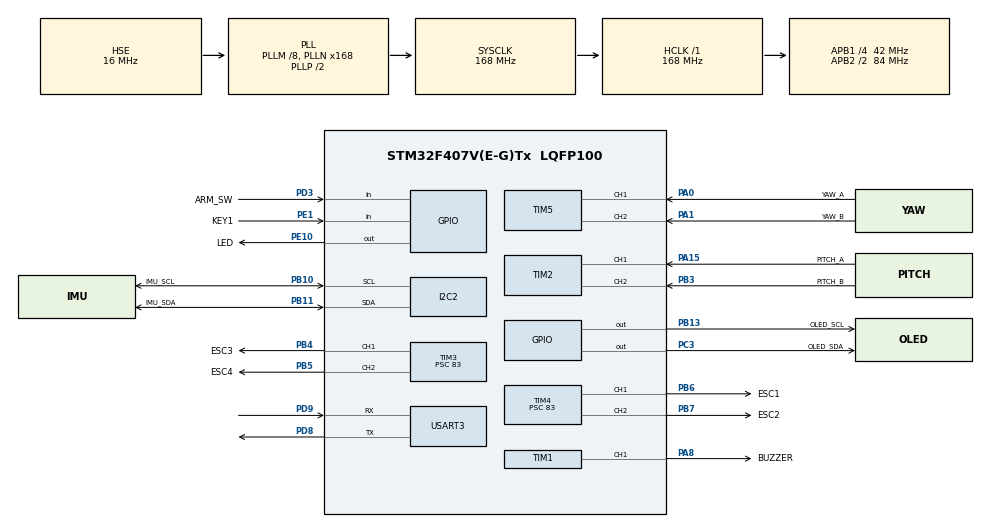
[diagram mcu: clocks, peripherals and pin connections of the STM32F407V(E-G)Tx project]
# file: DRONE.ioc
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I2C2.I2C_Mode=I2C_Fast
Mcu.Family=STM32F4
Mcu.Name=STM32F407V(E-G)Tx
Mcu.Package=LQFP100
NVIC.PriorityGroup=NVIC_PRIORITYGROUP_4
NVIC.TIM6_DAC_IRQn=true\:1\:0\:true\:false\:true\:true\:true\:true
PA0-WKUP.GPIO_Label=YAW_A
PA0-WKUP.Signal=S_TIM5_CH1
PA1.GPIO_Label=YAW_B
PA1.Signal=S_TIM5_CH2
PA13.Mode=Serial_Wire
PA13.Signal=SYS_JTMS-SWDIO
PA14.Mode=Serial_Wire
PA14.Signal=SYS_JTCK-SWCLK
PA15.GPIO_Label=PITCH_A
PA15.Signal=S_TIM2_CH1_ETR
PA8.GPIO_Label=BUZZER
PA8.Signal=S_TIM1_CH1
PB10.GPIO_Label=IMU_SCL
PB10.Mode=I2C
PB10.Signal=I2C2_SCL
PB11.GPIO_Label=IMU_SDA
PB11.Mode=I2C
PB11.Signal=I2C2_SDA
PB13.GPIO_Label=OLED_SCL
PB13.GPIO_ModeDefaultOutputPP=GPIO_MODE_OUTPUT_OD
PB13.GPIO_PuPd=GPIO_PULLUP
PB13.GPIO_Speed=GPIO_SPEED_FREQ_VERY_HIGH
PB13.PinState=GPIO_PIN_SET
PB13.Signal=GPIO_Output
PB3.GPIO_Label=PITCH_B
PB3.Signal=S_TIM2_CH2
PB4.GPIO_Label=ESC3
PB4.Signal=S_TIM3_CH1
PB5.GPIO_Label=ESC4
PB5.Signal=S_TIM3_CH2
PB6.GPIO_Label=ESC1
PB6.Signal=S_TIM4_CH1
PB7.GPIO_Label=ESC2
PB7.Signal=S_TIM4_CH2
PC3.GPIO_Label=OLED_SDA
PC3.GPIO_ModeDefaultOutputPP=GPIO_MODE_OUTPUT_OD
PC3.GPIO_PuPd=GPIO_PULLUP
PC3.GPIO_Speed=GPIO_SPEED_FREQ_VERY_HIGH
PC3.PinState=GPIO_PIN_SET
PC3.Signal=GPIO_Output
PD3.GPIO_Label=ARM_SW
PD3.Signal=GPIO_Input
PD8.Mode=Asynchronous
PD8.Signal=USART3_TX
PD9.Mode=Asynchronous
PD9.Signal=USART3_RX
PE1.GPIO_Label=KEY1
PE1.Signal=GPIO_Input
PE10.GPIO_Label=LED
PE10.PinState=GPIO_PIN_SET
PE10.Signal=GPIO_Output
PH0-OSC_IN.Mode=HSE-External-Oscillator
PH0-OSC_IN.Signal=RCC_OSC_IN
PH1-OSC_OUT.Mode=HSE-External-Oscillator
PH1-OSC_OUT.Signal=RCC_OSC_OUT
ProjectManager.HeapSize=0x200
ProjectManager.StackSize=0x400
ProjectManager.TargetToolchain=STM32CubeIDE
RCC.48MHZClocksFreq_Value=84000000
RCC.AHBFreq_Value=168000000
RCC.APB1CLKDivider=RCC_HCLK_DIV4
RCC.APB1Freq_Value=42000000
RCC.APB1TimFreq_Value=84000000
RCC.APB2CLKDivider=RCC_HCLK_DIV2
RCC.APB2Freq_Value=84000000
RCC.APB2TimFreq_Value=168000000
RCC.CortexFreq_Value=168000000
RCC.HCLKFreq_Value=168000000
RCC.HSE_VALUE=16000000
RCC.HSI_VALUE=16000000
RCC.LSE_VALUE=32768
RCC.PLLM=8
RCC.PLLN=168
RCC.PLLSourceVirtual=RCC_PLLSOURCE_HSE
RCC.SYSCLKFreq_VALUE=168000000
RCC.SYSCLKSource=RCC_SYSCLKSOURCE_PLLCLK
RCC.VCOOutputFreq_Value=336000000
SH.S_TIM1_CH1.0=TIM1_CH1,PWM Generation1 CH1
SH.S_TIM2_CH1_ETR.0=TIM2_CH1,Encoder_Interface
SH.S_TIM2_CH2.0=TIM2_CH2,Encoder_Interface
SH.S_TIM3_CH1.0=TIM3_CH1,PWM Generation1 CH1
SH.S_TIM3_CH2.0=TIM3_CH2,PWM Generation2 CH2
SH.S_TIM4_CH1.0=TIM4_CH1,PWM Generation1 CH1
SH.S_TIM4_CH2.0=TIM4_CH2,PWM Generation2 CH2
SH.S_TIM5_CH1.0=TIM5_CH1,Encoder_Interface
SH.S_TIM5_CH2.0=TIM5_CH2,Encoder_Interface
TIM1.Channel-PWM\ Generation1\ CH1=TIM_CHANNEL_1
TIM1.Period=499
TIM1.Prescaler=167
TIM2.EncoderMode=TIM_ENCODERMODE_TI12
TIM2.IC1Filter=5
TIM2.IC2Filter=5
TIM3.AutoReloadPreload=TIM_AUTORELOAD_PRELOAD_ENABLE
TIM3.Channel-PWM\ Generation1\ CH1=TIM_CHANNEL_1
TIM3.Channel-PWM\ Generation2\ CH2=TIM_CHANNEL_2
TIM3.Period=2499
TIM3.Prescaler=83
TIM3.Pulse-PWM\ Generation1\ CH1=1000
TIM3.Pulse-PWM\ Generation2\ CH2=1000
TIM4.AutoReloadPreload=TIM_AUTORELOAD_PRELOAD_ENABLE
TIM4.Channel-PWM\ Generation1\ CH1=TIM_CHANNEL_1
TIM4.Channel-PWM\ Generation2\ CH2=TIM_CHANNEL_2
TIM4.Period=2499
TIM4.Prescaler=83
TIM4.Pulse-PWM\ Generation1\ CH1=1000
TIM4.Pulse-PWM\ Generation2\ CH2=1000
TIM5.AutoReloadPreload=TIM_AUTORELOAD_PRELOAD_ENABLE
TIM5.EncoderMode=TIM_ENCODERMODE_TI12
TIM5.IC1Filter=5
TIM5.IC2Filter=5
TIM6.Period=1999
TIM6.Prescaler=83
USART3.VirtualMode=VM_ASYNC
VP_TIM1_VS_ClockSourceINT.Mode=Internal
VP_TIM3_VS_ClockSourceINT.Mode=Internal
VP_TIM4_VS_ClockSourceINT.Mode=Internal
VP_TIM6_VS_ClockSourceINT.Mode=Enable_Timer
board=custom

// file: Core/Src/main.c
/* USER CODE BEGIN Header */
/**
  ******************************************************************************
  * @file           : main.c
  * @brief          : Main program body
  ******************************************************************************
  * @attention
  *
  * Copyright (c) 2026 STMicroelectronics.
  * All rights reserved.
  *
  * This software is licensed under terms that can be found in the LICENSE file
  * in the root directory of this software component.
  * If no LICENSE file comes with this software, it is provided AS-IS.
  *
  ******************************************************************************
  */
/* USER CODE END Header */
#include "main.h"

/* USER CODE BEGIN Includes */
#include "bsp_led.h"
#include "bsp_esc.h"
#include "bsp_enc.h"
#include "bsp_imu.h"      // IMU
#include "bsp_pid.h"      // PID
#include "bsp_oled.h"
#include "bsp_key.h"
#include "bsp_buzzer.h"
#include "bsp_comm.h"     // Raspberry Pi link
/* USER CODE END Includes */

I2C_HandleTypeDef hi2c2;

TIM_HandleTypeDef htim1;
TIM_HandleTypeDef htim2;
TIM_HandleTypeDef htim3;
TIM_HandleTypeDef htim4;
TIM_HandleTypeDef htim5;
TIM_HandleTypeDef htim6;

UART_HandleTypeDef huart3;

/* USER CODE BEGIN PV */
volatile float yaw_ang =0;
volatile float pitch_ang =0;
volatile uint8_t oled_found = 0;
uint32_t oled_last_ms = 0;
uint32_t arm_beep_ms = 0;     /* when the last countdown beep started */
uint8_t armed_beeped = 0;     /* 1 = the long "armed" beep was already played */
/* USER CODE END PV */

void SystemClock_Config(void);
static void MX_GPIO_Init(void);
static void MX_I2C2_Init(void);
static void MX_USART3_UART_Init(void);
static void MX_TIM3_Init(void);
static void MX_TIM4_Init(void);
static void MX_TIM2_Init(void);
static void MX_TIM5_Init(void);
static void MX_TIM6_Init(void);
static void MX_TIM1_Init(void);

int main(void)
{

  /* MCU Configuration--------------------------------------------------------*/

  /* Reset of all peripherals, Initializes the Flash interface and the Systick. */
  HAL_Init();

  /* Configure the system clock */
  SystemClock_Config();

  /* Initialize all configured peripherals */
  MX_GPIO_Init();
  MX_I2C2_Init();
  MX_USART3_UART_Init();
  MX_TIM3_Init();
  MX_TIM4_Init();
  MX_TIM2_Init();
  MX_TIM5_Init();
  MX_TIM6_Init();
  MX_TIM1_Init();
  /* USER CODE BEGIN 2 */
  LED_Init();
  ESC_Init();
  BUZZER_Init();
  ENC_Init();
  IMU_Init();             // IMU
  PID_Init();             // PID
  COMM_Init();            // Raspberry Pi link on USART3
  HAL_TIM_Base_Start_IT(&htim6);   // PID: start the 500 Hz control loop
  /*0.5s on and 0.5s off*/
  LED_Blink(1000);
  oled_found = OLED_Init();
  /* OLED test: one line across the middle */
  for(uint8_t x = 0; x < 128; x++){
	  OLED_SetPixel(x, 16, 1);
  }
  OLED_Update();
  BUZZER_Beep(200);
  /* USER CODE END 2 */

  /* Infinite loop */
  while (1)
  {

    /* USER CODE BEGIN 3 */

	  yaw_ang = ENC_GetDeg(ENC_YAW);
	  pitch_ang = ENC_GetDeg(ENC_PITCH);

	  PID_Print();        // PID: angle, output, left/right motor speeds to Tera Term
	  COMM_Update();      // Pi link: read $SET commands, send $TEL telemetry
	  //LED_Update();
	  BUZZER_Update();
	  if(KEY1_IsPressed()){
		  ESC_Arm();
	  }
	  ESC_Update();  // PID: finishes the ESC arming sequence

	  /* warning: short beep every second while counting down */
	  if(ESC_IsCountingDown() && HAL_GetTick() - arm_beep_ms >= 1000){
		  arm_beep_ms = HAL_GetTick();
		  BUZZER_Beep(100);
	  }
	  /* long beep once, the moment the motors are allowed to spin */
	  if(ESC_IsArmed() && armed_beeped == 0){
		  armed_beeped = 1;
		  BUZZER_Beep(1000);
	  }

	  /* OLED: redraw angle, target and error 5 times a second */
	  if(HAL_GetTick() - oled_last_ms >= 200){
		  oled_last_ms = HAL_GetTick();
		  float angle  = IMU_GetData()->pitch;   /* same angle the PID uses */
		  float target = PID_GetTarget();
		  OLED_Clear();
		  OLED_Print(0, 0,  "Angle:");   OLED_PrintFloat(54, 0,  angle);
		  OLED_Print(0, 11, "Target:");  OLED_PrintFloat(54, 11, target);
		  OLED_Print(0, 22, "Error:");   OLED_PrintFloat(54, 22, target - angle);
		  OLED_Update();
	  }
/*
	  if(ESC_IsArmed()){
		  ESC_Set(1, 1200);
		  ESC_Set(3, 1200);
		  ESC_Set(4, 1200);
		  ESC_Set(2, 1200);
	  }
*/

  }
  /* USER CODE END 3 */
}

void SystemClock_Config(void)
{
  RCC_OscInitTypeDef RCC_OscInitStruct = {0};
  RCC_ClkInitTypeDef RCC_ClkInitStruct = {0};

  /** Configure the main internal regulator output voltage
  */
  __HAL_RCC_PWR_CLK_ENABLE();
  __HAL_PWR_VOLTAGESCALING_CONFIG(PWR_REGULATOR_VOLTAGE_SCALE1);

  /** Initializes the RCC Oscillators according to the specified parameters
  * in the RCC_OscInitTypeDef structure.
  */
  RCC_OscInitStruct.OscillatorType = RCC_OSCILLATORTYPE_HSE;
  RCC_OscInitStruct.HSEState = RCC_HSE_ON;
  RCC_OscInitStruct.PLL.PLLState = RCC_PLL_ON;
  RCC_OscInitStruct.PLL.PLLSource = RCC_PLLSOURCE_HSE;
  RCC_OscInitStruct.PLL.PLLM = 8;
  RCC_OscInitStruct.PLL.PLLN = 168;
  RCC_OscInitStruct.PLL.PLLP = RCC_PLLP_DIV2;
  RCC_OscInitStruct.PLL.PLLQ = 4;
  if (HAL_RCC_OscConfig(&RCC_OscInitStruct) != HAL_OK)
  {
    Error_Handler();
  }

  /** Initializes the CPU, AHB and APB buses clocks
  */
  RCC_ClkInitStruct.ClockType = RCC_CLOCKTYPE_HCLK|RCC_CLOCKTYPE_SYSCLK
                              |RCC_CLOCKTYPE_PCLK1|RCC_CLOCKTYPE_PCLK2;
  RCC_ClkInitStruct.SYSCLKSource = RCC_SYSCLKSOURCE_PLLCLK;
  RCC_ClkInitStruct.AHBCLKDivider = RCC_SYSCLK_DIV1;
  RCC_ClkInitStruct.APB1CLKDivider = RCC_HCLK_DIV4;
  RCC_ClkInitStruct.APB2CLKDivider = RCC_HCLK_DIV2;

  if (HAL_RCC_ClockConfig(&RCC_ClkInitStruct, FLASH_LATENCY_5) != HAL_OK)
  {
    Error_Handler();
  }
}

static void MX_I2C2_Init(void)
{

  hi2c2.Instance = I2C2;
  hi2c2.Init.ClockSpeed = 400000;
  hi2c2.Init.DutyCycle = I2C_DUTYCYCLE_2;
  hi2c2.Init.OwnAddress1 = 0;
  hi2c2.Init.AddressingMode = I2C_ADDRESSINGMODE_7BIT;
  hi2c2.Init.DualAddressMode = I2C_DUALADDRESS_DISABLE;
  hi2c2.Init.OwnAddress2 = 0;
  hi2c2.Init.GeneralCallMode = I2C_GENERALCALL_DISABLE;
  hi2c2.Init.NoStretchMode = I2C_NOSTRETCH_DISABLE;
  if (HAL_I2C_Init(&hi2c2) != HAL_OK)
  {
    Error_Handler();
  }

}

static void MX_TIM1_Init(void)
{

  TIM_ClockConfigTypeDef sClockSourceConfig = {0};
  TIM_MasterConfigTypeDef sMasterConfig = {0};
  TIM_OC_InitTypeDef sConfigOC = {0};
  TIM_BreakDeadTimeConfigTypeDef sBreakDeadTimeConfig = {0};

  htim1.Instance = TIM1;
  htim1.Init.Prescaler = 167;
  htim1.Init.CounterMode = TIM_COUNTERMODE_UP;
  htim1.Init.Period = 499;
  htim1.Init.ClockDivision = TIM_CLOCKDIVISION_DIV1;
  htim1.Init.RepetitionCounter = 0;
  htim1.Init.AutoReloadPreload = TIM_AUTORELOAD_PRELOAD_DISABLE;
  if (HAL_TIM_Base_Init(&htim1) != HAL_OK)
  {
    Error_Handler();
  }
  sClockSourceConfig.ClockSource = TIM_CLOCKSOURCE_INTERNAL;
  if (HAL_TIM_ConfigClockSource(&htim1, &sClockSourceConfig) != HAL_OK)
  {
    Error_Handler();
  }
  if (HAL_TIM_PWM_Init(&htim1) != HAL_OK)
  {
    Error_Handler();
  }
  sMasterConfig.MasterOutputTrigger = TIM_TRGO_RESET;
  sMasterConfig.MasterSlaveMode = TIM_MASTERSLAVEMODE_DISABLE;
  if (HAL_TIMEx_MasterConfigSynchronization(&htim1, &sMasterConfig) != HAL_OK)
  {
    Error_Handler();
  }
  sConfigOC.OCMode = TIM_OCMODE_PWM1;
  sConfigOC.Pulse = 0;
  sConfigOC.OCPolarity = TIM_OCPOLARITY_HIGH;
  sConfigOC.OCNPolarity = TIM_OCNPOLARITY_HIGH;
  sConfigOC.OCFastMode = TIM_OCFAST_DISABLE;
  sConfigOC.OCIdleState = TIM_OCIDLESTATE_RESET;
  sConfigOC.OCNIdleState = TIM_OCNIDLESTATE_RESET;
  if (HAL_TIM_PWM_ConfigChannel(&htim1, &sConfigOC, TIM_CHANNEL_1) != HAL_OK)
  {
    Error_Handler();
  }
  sBreakDeadTimeConfig.OffStateRunMode = TIM_OSSR_DISABLE;
  sBreakDeadTimeConfig.OffStateIDLEMode = TIM_OSSI_DISABLE;
  sBreakDeadTimeConfig.LockLevel = TIM_LOCKLEVEL_OFF;
  sBreakDeadTimeConfig.DeadTime = 0;
  sBreakDeadTimeConfig.BreakState = TIM_BREAK_DISABLE;
  sBreakDeadTimeConfig.BreakPolarity = TIM_BREAKPOLARITY_HIGH;
  sBreakDeadTimeConfig.AutomaticOutput = TIM_AUTOMATICOUTPUT_DISABLE;
  if (HAL_TIMEx_ConfigBreakDeadTime(&htim1, &sBreakDeadTimeConfig) != HAL_OK)
  {
    Error_Handler();
  }
  HAL_TIM_MspPostInit(&htim1);

}

static void MX_TIM2_Init(void)
{

  TIM_Encoder_InitTypeDef sConfig = {0};
  TIM_MasterConfigTypeDef sMasterConfig = {0};

  htim2.Instance = TIM2;
  htim2.Init.Prescaler = 0;
  htim2.Init.CounterMode = TIM_COUNTERMODE_UP;
  htim2.Init.Period = 4294967295;
  htim2.Init.ClockDivision = TIM_CLOCKDIVISION_DIV1;
  htim2.Init.AutoReloadPreload = TIM_AUTORELOAD_PRELOAD_DISABLE;
  sConfig.EncoderMode = TIM_ENCODERMODE_TI12;
  sConfig.IC1Polarity = TIM_ICPOLARITY_RISING;
  sConfig.IC1Selection = TIM_ICSELECTION_DIRECTTI;
  sConfig.IC1Prescaler = TIM_ICPSC_DIV1;
  sConfig.IC1Filter = 5;
  sConfig.IC2Polarity = TIM_ICPOLARITY_RISING;
  sConfig.IC2Selection = TIM_ICSELECTION_DIRECTTI;
  sConfig.IC2Prescaler = TIM_ICPSC_DIV1;
  sConfig.IC2Filter = 5;
  if (HAL_TIM_Encoder_Init(&htim2, &sConfig) != HAL_OK)
  {
    Error_Handler();
  }
  sMasterConfig.MasterOutputTrigger = TIM_TRGO_RESET;
  sMasterConfig.MasterSlaveMode = TIM_MASTERSLAVEMODE_DISABLE;
  if (HAL_TIMEx_MasterConfigSynchronization(&htim2, &sMasterConfig) != HAL_OK)
  {
    Error_Handler();
  }

}

static void MX_TIM3_Init(void)
{

  TIM_ClockConfigTypeDef sClockSourceConfig = {0};
  TIM_MasterConfigTypeDef sMasterConfig = {0};
  TIM_OC_InitTypeDef sConfigOC = {0};

  htim3.Instance = TIM3;
  htim3.Init.Prescaler = 83;
  htim3.Init.CounterMode = TIM_COUNTERMODE_UP;
  htim3.Init.Period = 2499;
  htim3.Init.ClockDivision = TIM_CLOCKDIVISION_DIV1;
  htim3.Init.AutoReloadPreload = TIM_AUTORELOAD_PRELOAD_ENABLE;
  if (HAL_TIM_Base_Init(&htim3) != HAL_OK)
  {
    Error_Handler();
  }
  sClockSourceConfig.ClockSource = TIM_CLOCKSOURCE_INTERNAL;
  if (HAL_TIM_ConfigClockSource(&htim3, &sClockSourceConfig) != HAL_OK)
  {
    Error_Handler();
  }
  if (HAL_TIM_PWM_Init(&htim3) != HAL_OK)
  {
    Error_Handler();
  }
  sMasterConfig.MasterOutputTrigger = TIM_TRGO_RESET;
  sMasterConfig.MasterSlaveMode = TIM_MASTERSLAVEMODE_DISABLE;
  if (HAL_TIMEx_MasterConfigSynchronization(&htim3, &sMasterConfig) != HAL_OK)
  {
    Error_Handler();
  }
  sConfigOC.OCMode = TIM_OCMODE_PWM1;
  sConfigOC.Pulse = 1000;
  sConfigOC.OCPolarity = TIM_OCPOLARITY_HIGH;
  sConfigOC.OCFastMode = TIM_OCFAST_DISABLE;
  if (HAL_TIM_PWM_ConfigChannel(&htim3, &sConfigOC, TIM_CHANNEL_1) != HAL_OK)
  {
    Error_Handler();
  }
  if (HAL_TIM_PWM_ConfigChannel(&htim3, &sConfigOC, TIM_CHANNEL_2) != HAL_OK)
  {
    Error_Handler();
  }
  HAL_TIM_MspPostInit(&htim3);

}

static void MX_TIM4_Init(void)
{

  TIM_ClockConfigTypeDef sClockSourceConfig = {0};
  TIM_MasterConfigTypeDef sMasterConfig = {0};
  TIM_OC_InitTypeDef sConfigOC = {0};

  htim4.Instance = TIM4;
  htim4.Init.Prescaler = 83;
  htim4.Init.CounterMode = TIM_COUNTERMODE_UP;
  htim4.Init.Period = 2499;
  htim4.Init.ClockDivision = TIM_CLOCKDIVISION_DIV1;
  htim4.Init.AutoReloadPreload = TIM_AUTORELOAD_PRELOAD_ENABLE;
  if (HAL_TIM_Base_Init(&htim4) != HAL_OK)
  {
    Error_Handler();
  }
  sClockSourceConfig.ClockSource = TIM_CLOCKSOURCE_INTERNAL;
  if (HAL_TIM_ConfigClockSource(&htim4, &sClockSourceConfig) != HAL_OK)
  {
    Error_Handler();
  }
  if (HAL_TIM_PWM_Init(&htim4) != HAL_OK)
  {
    Error_Handler();
  }
  sMasterConfig.MasterOutputTrigger = TIM_TRGO_RESET;
  sMasterConfig.MasterSlaveMode = TIM_MASTERSLAVEMODE_DISABLE;
  if (HAL_TIMEx_MasterConfigSynchronization(&htim4, &sMasterConfig) != HAL_OK)
  {
    Error_Handler();
  }
  sConfigOC.OCMode = TIM_OCMODE_PWM1;
  sConfigOC.Pulse = 1000;
  sConfigOC.OCPolarity = TIM_OCPOLARITY_HIGH;
  sConfigOC.OCFastMode = TIM_OCFAST_DISABLE;
  if (HAL_TIM_PWM_ConfigChannel(&htim4, &sConfigOC, TIM_CHANNEL_1) != HAL_OK)
  {
    Error_Handler();
  }
  if (HAL_TIM_PWM_ConfigChannel(&htim4, &sConfigOC, TIM_CHANNEL_2) != HAL_OK)
  {
    Error_Handler();
  }
  HAL_TIM_MspPostInit(&htim4);

}

static void MX_TIM5_Init(void)
{

  TIM_Encoder_InitTypeDef sConfig = {0};
  TIM_MasterConfigTypeDef sMasterConfig = {0};

  htim5.Instance = TIM5;
  htim5.Init.Prescaler = 0;
  htim5.Init.CounterMode = TIM_COUNTERMODE_UP;
  htim5.Init.Period = 4294967295;
  htim5.Init.ClockDivision = TIM_CLOCKDIVISION_DIV1;
  htim5.Init.AutoReloadPreload = TIM_AUTORELOAD_PRELOAD_ENABLE;
  sConfig.EncoderMode = TIM_ENCODERMODE_TI12;
  sConfig.IC1Polarity = TIM_ICPOLARITY_RISING;
  sConfig.IC1Selection = TIM_ICSELECTION_DIRECTTI;
  sConfig.IC1Prescaler = TIM_ICPSC_DIV1;
  sConfig.IC1Filter = 5;
  sConfig.IC2Polarity = TIM_ICPOLARITY_RISING;
  sConfig.IC2Selection = TIM_ICSELECTION_DIRECTTI;
  sConfig.IC2Prescaler = TIM_ICPSC_DIV1;
  sConfig.IC2Filter = 5;
  if (HAL_TIM_Encoder_Init(&htim5, &sConfig) != HAL_OK)
  {
    Error_Handler();
  }
  sMasterConfig.MasterOutputTrigger = TIM_TRGO_RESET;
  sMasterConfig.MasterSlaveMode = TIM_MASTERSLAVEMODE_DISABLE;
  if (HAL_TIMEx_MasterConfigSynchronization(&htim5, &sMasterConfig) != HAL_OK)
  {
    Error_Handler();
  }

}

static void MX_TIM6_Init(void)
{

  TIM_MasterConfigTypeDef sMasterConfig = {0};

  htim6.Instance = TIM6;
  htim6.Init.Prescaler = 83;
  htim6.Init.CounterMode = TIM_COUNTERMODE_UP;
  htim6.Init.Period = 1999;
  htim6.Init.AutoReloadPreload = TIM_AUTORELOAD_PRELOAD_DISABLE;
  if (HAL_TIM_Base_Init(&htim6) != HAL_OK)
  {
    Error_Handler();
  }
  sMasterConfig.MasterOutputTrigger = TIM_TRGO_RESET;
  sMasterConfig.MasterSlaveMode = TIM_MASTERSLAVEMODE_DISABLE;
  if (HAL_TIMEx_MasterConfigSynchronization(&htim6, &sMasterConfig) != HAL_OK)
  {
    Error_Handler();
  }

}

static void MX_USART3_UART_Init(void)
{

  huart3.Instance = USART3;
  huart3.Init.BaudRate = 115200;
  huart3.Init.WordLength = UART_WORDLENGTH_8B;
  huart3.Init.StopBits = UART_STOPBITS_1;
  huart3.Init.Parity = UART_PARITY_NONE;
  huart3.Init.Mode = UART_MODE_TX_RX;
  huart3.Init.HwFlowCtl = UART_HWCONTROL_NONE;
  huart3.Init.OverSampling = UART_OVERSAMPLING_16;
  if (HAL_UART_Init(&huart3) != HAL_OK)
  {
    Error_Handler();
  }

}

static void MX_GPIO_Init(void)
{
  GPIO_InitTypeDef GPIO_InitStruct = {0};

  /* GPIO Ports Clock Enable */
  __HAL_RCC_GPIOH_CLK_ENABLE();
  __HAL_RCC_GPIOC_CLK_ENABLE();
  __HAL_RCC_GPIOA_CLK_ENABLE();
  __HAL_RCC_GPIOE_CLK_ENABLE();
  __HAL_RCC_GPIOB_CLK_ENABLE();
  __HAL_RCC_GPIOD_CLK_ENABLE();

  /*Configure GPIO pin Output Level */
  HAL_GPIO_WritePin(OLED_SDA_GPIO_Port, OLED_SDA_Pin, GPIO_PIN_SET);

  /*Configure GPIO pin Output Level */
  HAL_GPIO_WritePin(LED_GPIO_Port, LED_Pin, GPIO_PIN_SET);

  /*Configure GPIO pin Output Level */
  HAL_GPIO_WritePin(OLED_SCL_GPIO_Port, OLED_SCL_Pin, GPIO_PIN_SET);

  /*Configure GPIO pin : OLED_SDA_Pin */
  GPIO_InitStruct.Pin = OLED_SDA_Pin;
  GPIO_InitStruct.Mode = GPIO_MODE_OUTPUT_OD;
  GPIO_InitStruct.Pull = GPIO_PULLUP;
  GPIO_InitStruct.Speed = GPIO_SPEED_FREQ_VERY_HIGH;
  HAL_GPIO_Init(OLED_SDA_GPIO_Port, &GPIO_InitStruct);

  /*Configure GPIO pin : LED_Pin */
  GPIO_InitStruct.Pin = LED_Pin;
  GPIO_InitStruct.Mode = GPIO_MODE_OUTPUT_PP;
  GPIO_InitStruct.Pull = GPIO_NOPULL;
  GPIO_InitStruct.Speed = GPIO_SPEED_FREQ_LOW;
  HAL_GPIO_Init(LED_GPIO_Port, &GPIO_InitStruct);

  /*Configure GPIO pin : OLED_SCL_Pin */
  GPIO_InitStruct.Pin = OLED_SCL_Pin;
  GPIO_InitStruct.Mode = GPIO_MODE_OUTPUT_OD;
  GPIO_InitStruct.Pull = GPIO_PULLUP;
  GPIO_InitStruct.Speed = GPIO_SPEED_FREQ_VERY_HIGH;
  HAL_GPIO_Init(OLED_SCL_GPIO_Port, &GPIO_InitStruct);

  /*Configure GPIO pin : ARM_SW_Pin */
  GPIO_InitStruct.Pin = ARM_SW_Pin;
  GPIO_InitStruct.Mode = GPIO_MODE_INPUT;
  GPIO_InitStruct.Pull = GPIO_NOPULL;
  HAL_GPIO_Init(ARM_SW_GPIO_Port, &GPIO_InitStruct);

  /*Configure GPIO pin : KEY1_Pin */
  GPIO_InitStruct.Pin = KEY1_Pin;
  GPIO_InitStruct.Mode = GPIO_MODE_INPUT;
  GPIO_InitStruct.Pull = GPIO_NOPULL;
  HAL_GPIO_Init(KEY1_GPIO_Port, &GPIO_InitStruct);

}

/* USER CODE BEGIN 4 */
/* PID: TIM6 fires every 2 ms, read the IMU and run one control step */
void HAL_TIM_PeriodElapsedCallback(TIM_HandleTypeDef *htim){
	if(htim->Instance == TIM6){
		IMU_Update();
		PID_Update();
	}
}

extern UART_HandleTypeDef huart3;
int __io_putchar(int ch){
	HAL_UART_Transmit(&huart3, (uint8_t*)&ch, 1, HAL_MAX_DELAY);
	return ch;
}
/* USER CODE END 4 */

void Error_Handler(void)
{
  __disable_irq();
  while (1)
  {
  }
}
